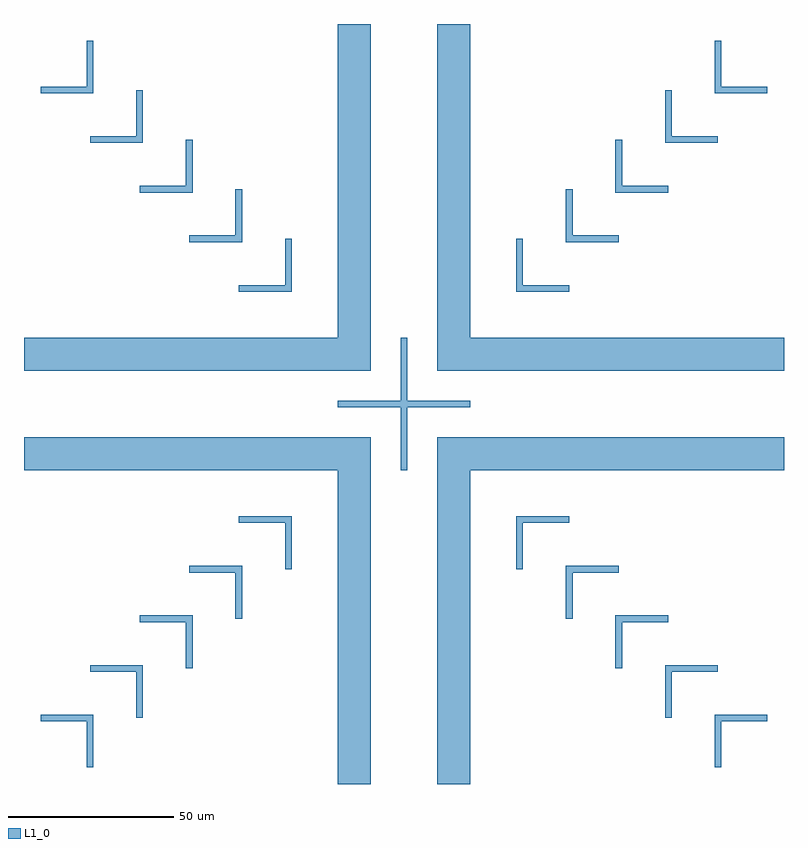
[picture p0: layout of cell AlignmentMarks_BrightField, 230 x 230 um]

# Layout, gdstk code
import gdstk
lib = gdstk.Library(unit=1e-6, precision=1e-09)
def P(c, l, *ps):  # polygons
    for p in ps: c.add(gdstk.Polygon(p, *l))
L1_0 = (1, 0)

alignmentmarks_brightfie = lib.new_cell('AlignmentMarks_BrightField')
P(alignmentmarks_brightfie, L1_0, [(-1,-20),(-1,-1),(-20,-1),(-20,1),(-1,1),(-1,20),(1,20),(1,1),(20,1),(20,-1),(1,-1),(1,-20)],
  [(94,94),(94,110),(96,110),(96,96),(110,96),(110,94)],
  [(34,34),(34,50),(36,50),(36,36),(50,36),(50,34)],
  [(-50,34),(-50,36),(-36,36),(-36,50),(-34,50),(-34,34)],
  [(-65,49),(-65,51),(-51,51),(-51,65),(-49,65),(-49,49)],
  [(-80,64),(-80,66),(-66,66),(-66,80),(-64,80),(-64,64)],
  [(-95,79),(-95,81),(-81,81),(-81,95),(-79,95),(-79,79)],
  [(-115,10),(-115,20),(-20,20),(-20,115),(-10,115),(-10,10)],
  [(10,10),(10,115),(20,115),(20,20),(115,20),(115,10)],
  [(-110,94),(-110,96),(-96,96),(-96,110),(-94,110),(-94,94)],
  [(49,49),(49,65),(51,65),(51,51),(65,51),(65,49)],
  [(64,64),(64,80),(66,80),(66,66),(80,66),(80,64)],
  [(79,79),(79,95),(81,95),(81,81),(95,81),(95,79)],
  [(79,-95),(79,-79),(95,-79),(95,-81),(81,-81),(81,-95)],
  [(64,-80),(64,-64),(80,-64),(80,-66),(66,-66),(66,-80)],
  [(49,-65),(49,-49),(65,-49),(65,-51),(51,-51),(51,-65)],
  [(-96,-110),(-96,-96),(-110,-96),(-110,-94),(-94,-94),(-94,-110)],
  [(10,-115),(10,-10),(115,-10),(115,-20),(20,-20),(20,-115)],
  [(-20,-115),(-20,-20),(-115,-20),(-115,-10),(-10,-10),(-10,-115)],
  [(-81,-95),(-81,-81),(-95,-81),(-95,-79),(-79,-79),(-79,-95)],
  [(-66,-80),(-66,-66),(-80,-66),(-80,-64),(-64,-64),(-64,-80)],
  [(-51,-65),(-51,-51),(-65,-51),(-65,-49),(-49,-49),(-49,-65)],
  [(-36,-50),(-36,-36),(-50,-36),(-50,-34),(-34,-34),(-34,-50)],
  [(34,-50),(34,-34),(50,-34),(50,-36),(36,-36),(36,-50)],
  [(94,-110),(94,-94),(110,-94),(110,-96),(96,-96),(96,-110)])

lib.write_gds('AlignmentMarks_BrightField.gds')
